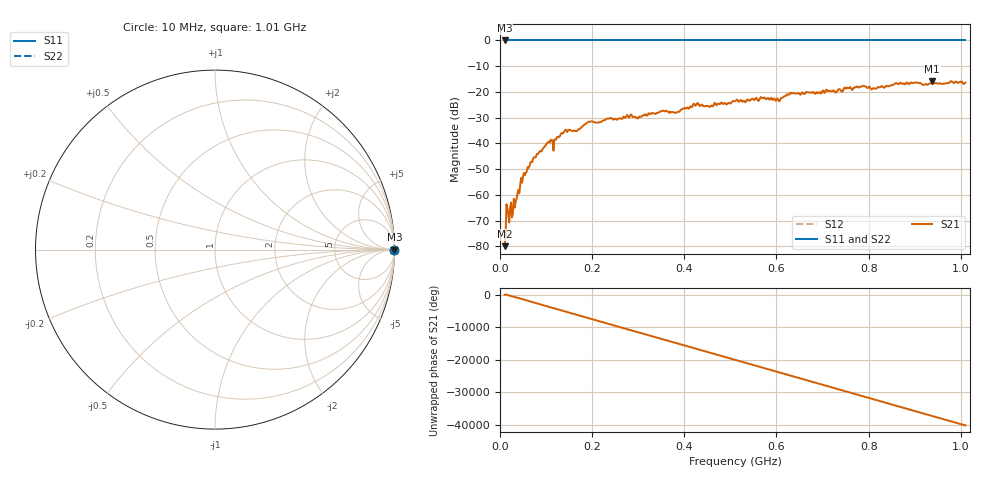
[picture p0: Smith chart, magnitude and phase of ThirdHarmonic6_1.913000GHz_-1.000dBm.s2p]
! 8/16/2025 11:04:42 PM
! C:\ANRITSUVNA\TEMP\TEMP.S2P
! CHANNEL.1
! TR.MEASUREMENT
! RAW.DATA
! RF.CORRECTION.OFF
! AVERAGING.OFF
! IF.BANDWIDTH: 5KHZ
! SWEEPTYPE:  FREQ.SWEEP(Linear)
! Reference Plane Port Info
! PORT:  PORT1  PORT2
! DISTANCE:  0  m  0  m
! TIME:  0  s  0  s
! PHASE.OFFSET:  0  deg.  0  deg.
! LOSS:  0  dB  0  dB
! REF.LOSS:  0  dB  0  dB
! REF.FREQ:  0  Hz  0  Hz
! Power Info
! POWER:  -20  dBm  -20  dBm
! EFF.POWER:  -20  dBm  -20  dBm
! SOURCE.ATTEN:  0  dB  0  dB
! TEST.ATTEN:  0  dB  0  dB
# GHZ S RI R 50.0
! FREQ.GHZ  S11RE  S11IM  S21RE  S21IM  S12RE  S12IM  S22RE  S22IM
!; PortSelection: Port_12
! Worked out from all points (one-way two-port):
!   501 points, 10 MHz to 1.01 GHz, reference 50 ohm
!   highest |S21| = -15.81 dB at 938 MHz (marker M1); lowest = -79.9 dB at 10 MHz (marker M2)
!   lowest |S11| = 0.0 dB at 10 MHz (marker M3)
!   |S11| at or under -10 dB: nowhere
!   |S22| runs from 0.0 to 0.0 dB; largest |S21 - S12| = 1.2
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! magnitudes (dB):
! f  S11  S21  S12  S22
! 10 MHz  0.0  -79.9  0.0  0.0
! 18 MHz  0.0  -67.6  0.0  0.0
! 24 MHz  0.0  -63.0  0.0  0.0
! 26 MHz  0.0  -68.7  0.0  0.0
! 30 MHz  0.0  -61.5  0.0  0.0
! 48 MHz  0.0  -55.3  0.0  0.0
! 70 MHz  0.0  -47.3  0.0  0.0
! 106 MHz  0.0  -39.3  0.0  0.0
! 118 MHz  0.0  -38.5  0.0  0.0
! 140 MHz  0.0  -35.2  0.0  0.0
! 178 MHz  0.0  -33.5  0.0  0.0
! 196 MHz  0.0  -31.6  0.0  0.0
! 344 MHz  0.0  -28.0  0.0  0.0
! 384 MHz  0.0  -27.9  0.0  0.0
! 424 MHz  0.0  -25.4  0.0  0.0
! 510 MHz  0.0  -23.6  0.0  0.0
! 602 MHz  0.0  -22.5  0.0  0.0
! 634 MHz  0.0  -20.4  0.0  0.0
! 678 MHz  0.0  -20.1  0.0  0.0
! 844 MHz  0.0  -17.7  0.0  0.0
! 938 MHz  0.0  -15.8  0.0  0.0
! 1.01 GHz  0.0  -16.4  0.0  0.0
